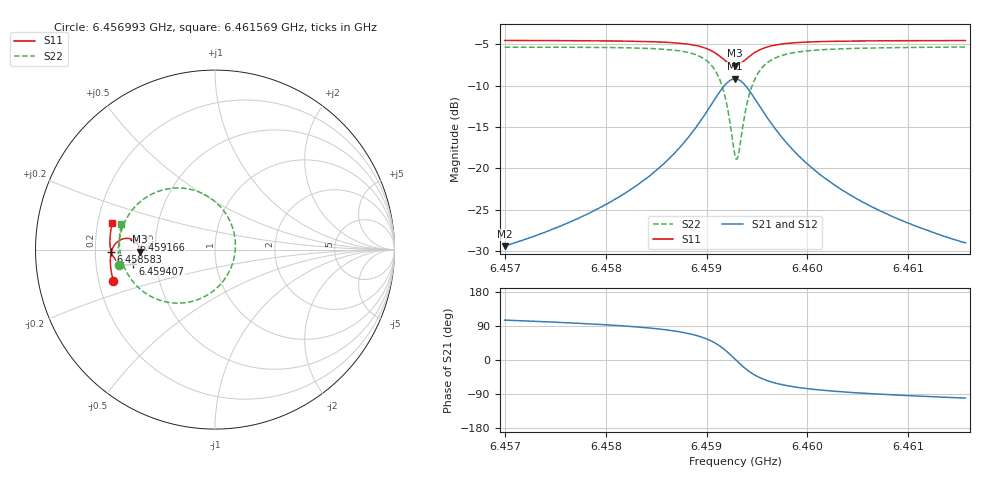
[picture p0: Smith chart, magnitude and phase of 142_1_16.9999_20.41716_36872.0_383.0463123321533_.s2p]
#  HZ  S  RI  R  50.00
! Rohde & Schwarz Vector Network Analyzer
! Rohde-Schwarz,ZNB20-2Port,1311601062101988,3.16
! Created: UTC 3/20/2024, 10:58:23 PM
! freq[Hz]  re:S11  im:S11  re:S21  im:S21  re:S12  im:S12  re:S22  im:S22
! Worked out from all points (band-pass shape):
!   401 points, 6.456993 GHz to 6.461569 GHz, reference 50 ohm
!   highest |S21| = -9.19 dB at 6.459281 GHz (marker M1); lowest = -29.4 dB at 6.456993 GHz (marker M2)
!   |S21| within 3 dB of the highest: 6.459051 GHz to 6.459509 GHz (458 kHz wide, 0.00709 % of centre)
!   lowest |S11| = -7.6 dB at 6.459281 GHz (marker M3), VSWR 2.43, Z = 20.6 - j0.568 ohm
!   |S11| at or under -10 dB: nowhere
!   |S22| runs from -18.9 to -5.3 dB; largest |S21 - S12| = 0.014
!   S11 on the Smith chart (normalised r, x): 6.456993 GHz: 0.26, -0.14; 6.458583 GHz: 0.27, -0.01; 6.459166 GHz: 0.37, +0.05; 6.459407 GHz: 0.37, -0.07; 6.461569 GHz: 0.26, +0.12
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6.4569927e9  -0.5665 -0.1723  -0.0089 0.0326  -0.00715 0.0325  -0.5327 -0.084
6.4577592e9  -0.5804 -0.1052  -0.00553 0.0506  -0.00312 0.05  -0.5381 0.00586
6.4582054e9  -0.5834 -0.0602  0.000791 0.0716  0.00409 0.0702  -0.5288 0.0776
6.4585257e9  -0.5795 -0.0215  0.0142 0.0994  0.0183 0.0965  -0.5041 0.151
6.4585829e9  -0.5777 -0.0136  0.0186 0.1061  0.0226 0.1031  -0.496 0.1675
6.4587889e9  -0.5646 0.0185  0.0463 0.1388  0.0504 0.1338  -0.4443 0.2405
6.4589376e9  -0.5419 0.045  0.0918 0.1694  0.095 0.1627  -0.3604 0.3049
6.4590749e9  -0.4977 0.0625  0.1794 0.186  0.1805 0.1787  -0.2004 0.3434
6.4591664e9  -0.4527 0.0522  0.2698 0.1546  0.2702 0.1487  -0.0335 0.2923
6.459235e9  -0.4235 0.0198  0.3306 0.0823  0.3326 0.077  0.0819 0.162
6.4592808e9  -0.4166 -0.0114  0.3468 0.014  0.3506 0.00702  0.1137 0.0347
6.4592923e9  -0.4171 -0.0196  0.3467 -0.00385  0.3505 -0.0115  0.1133 0.000953
6.4593151e9  -0.4206 -0.0353  0.341 -0.0386  0.3449 -0.0478  0.1019 -0.065
6.4593609e9  -0.4364 -0.0615  0.3122 -0.0988  0.3145 -0.1105  0.0438 -0.1781
6.4594067e9  -0.4585 -0.0779  0.27 -0.1398  0.2691 -0.153  -0.0417 -0.2527
6.4594982e9  -0.5021 -0.0849  0.1849 -0.171  0.1788 -0.1825  -0.2107 -0.2984
6.4596469e9  -0.5463 -0.0645  0.0968 -0.1572  0.0882 -0.1632  -0.3783 -0.2488
6.4598071e9  -0.5679 -0.0369  0.0517 -0.1292  0.0441 -0.1319  -0.4589 -0.1766
6.4600473e9  -0.5809 -0.00133  0.0224 -0.0974  0.0168 -0.0981  -0.5068 -0.0942
6.4604134e9  -0.5856 0.042  0.00561 -0.0693  0.00185 -0.0689  -0.529 -0.0109
6.4608139e9  -0.5837 0.0822  -0.00141 -0.052  -0.00419 -0.0512  -0.5327 0.0528
6.461569e9  -0.5719 0.1492  -0.00641 -0.0349  -0.00818 -0.0338  -0.5216 0.1424
